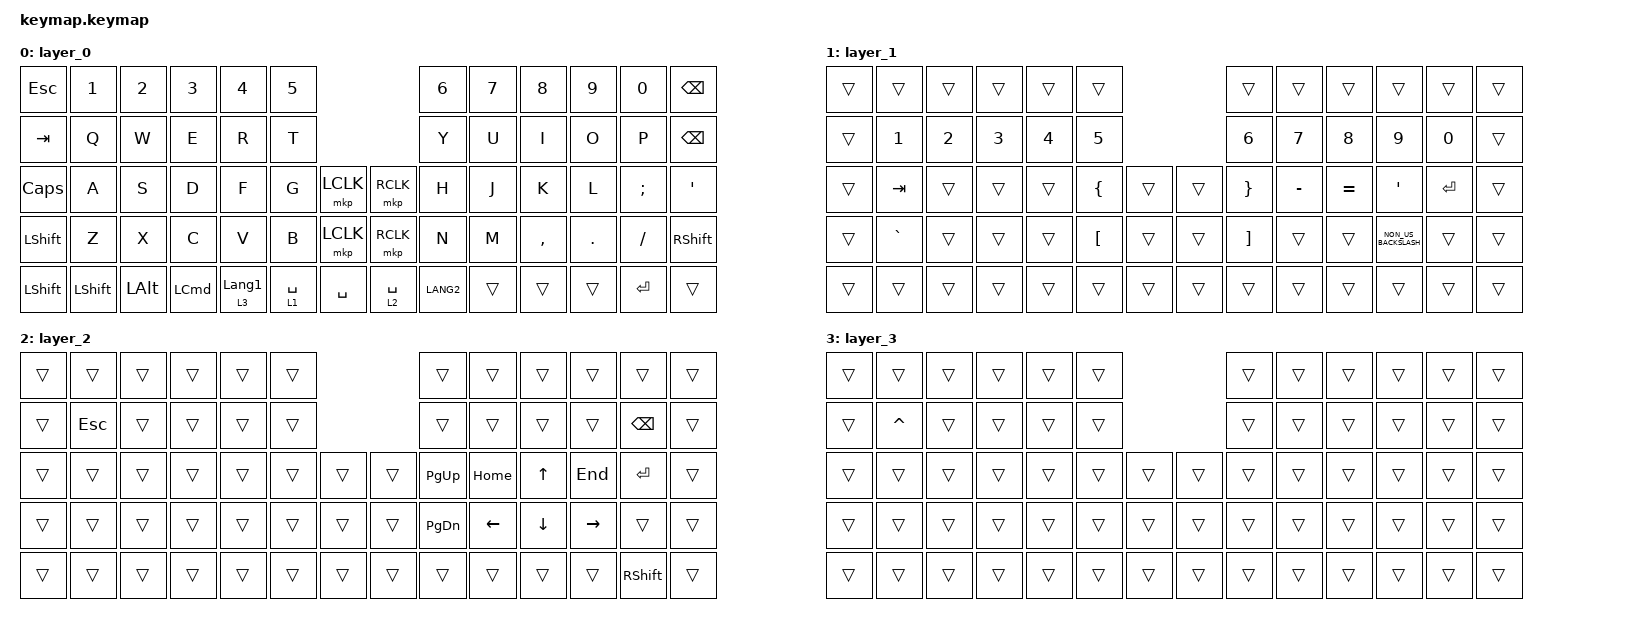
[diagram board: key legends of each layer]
#include <behaviors.dtsi>
#include <dt-bindings/zmk/bt.h>
#include <dt-bindings/zmk/keys.h>
#include <dt-bindings/zmk/pointing.h>

/ {
    combos {
        compatible = "zmk,combos";

        bt_clear {
            bindings = <&bt BT_CLR>;
            key-positions = <28 29>;
            layers = <2>;
        };
    };

    keymap {
        compatible = "zmk,keymap";

        layer_0 {
            bindings = <
&kp ESC     &kp N1      &kp N2        &kp N3            &kp N4            &kp N5                               &kp N6     &kp N7  &kp N8     &kp N9   &kp N0     &kp BSPC
&kp TAB     &kp Q       &kp W         &kp E             &kp R             &kp T                                &kp Y      &kp U   &kp I      &kp O    &kp P      &kp BSPC
&kp CAPS    &kp A       &kp S         &kp D             &kp F             &kp G        &mkp LCLK  &mkp RCLK    &kp H      &kp J   &kp K      &kp L    &kp SEMI   &kp SQT
&kp LSHFT   &kp Z       &kp X         &kp C             &kp V             &kp B        &mkp LCLK  &mkp RCLK    &kp N      &kp M   &kp COMMA  &kp DOT  &kp SLASH  &kp RSHFT
&kp LSHIFT  &kp LSHIFT  &kp LEFT_ALT  &kp LEFT_COMMAND  &lt 3 LANGUAGE_1  &lt 1 SPACE  &kp SPACE  &lt 2 SPACE  &kp LANG2  &trans  &trans     &trans   &kp ENTER  &trans
            >;
        };

        layer_1 {
            bindings = <
&trans  &trans        &trans        &trans        &trans        &trans                          &trans           &trans        &trans        &trans                &trans        &trans
&trans  &kp NUMBER_1  &kp NUMBER_2  &kp NUMBER_3  &kp NUMBER_4  &kp NUMBER_5                    &kp NUMBER_6     &kp NUMBER_7  &kp NUMBER_8  &kp NUMBER_9          &kp NUMBER_0  &trans
&trans  &kp TAB       &trans        &trans        &trans        &kp LEFT_BRACE  &trans  &trans  &kp RIGHT_BRACE  &kp MINUS     &kp EQUAL     &kp SQT               &kp ENTER     &trans
&trans  &kp GRAVE     &trans        &trans        &trans        &kp LBKT        &trans  &trans  &kp RBKT         &trans        &trans        &kp NON_US_BACKSLASH  &trans        &trans
&trans  &trans        &trans        &trans        &trans        &trans          &trans  &trans  &trans           &trans        &trans        &trans                &trans        &trans
            >;
        };

        layer_2 {
            bindings = <
&trans  &trans   &trans  &trans  &trans  &trans                  &trans         &trans          &trans          &trans           &trans           &trans
&trans  &kp ESC  &trans  &trans  &trans  &trans                  &trans         &trans          &trans          &trans           &kp BACKSPACE    &trans
&trans  &trans   &trans  &trans  &trans  &trans  &trans  &trans  &kp PAGE_UP    &kp HOME        &kp UP_ARROW    &kp END          &kp ENTER        &trans
&trans  &trans   &trans  &trans  &trans  &trans  &trans  &trans  &kp PAGE_DOWN  &kp LEFT_ARROW  &kp DOWN_ARROW  &kp RIGHT_ARROW  &trans           &trans
&trans  &trans   &trans  &trans  &trans  &trans  &trans  &trans  &trans         &trans          &trans          &trans           &kp RIGHT_SHIFT  &trans
            >;
        };

        layer_3 {
            bindings = <
&trans  &trans     &trans  &trans  &trans  &trans                  &trans  &trans  &trans  &trans  &trans  &trans
&trans  &kp CARET  &trans  &trans  &trans  &trans                  &trans  &trans  &trans  &trans  &trans  &trans
&trans  &trans     &trans  &trans  &trans  &trans  &trans  &trans  &trans  &trans  &trans  &trans  &trans  &trans
&trans  &trans     &trans  &trans  &trans  &trans  &trans  &trans  &trans  &trans  &trans  &trans  &trans  &trans
&trans  &trans     &trans  &trans  &trans  &trans  &trans  &trans  &trans  &trans  &trans  &trans  &trans  &trans
            >;
        };
    };
};
